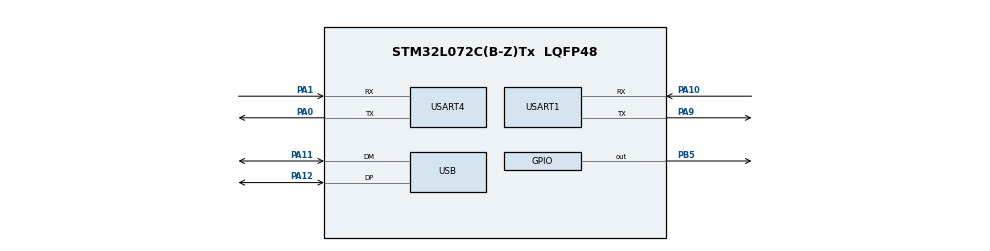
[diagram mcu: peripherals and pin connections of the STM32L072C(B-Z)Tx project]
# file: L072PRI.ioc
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FREERTOS.Tasks01=defaultTask,0,128,StartDefaultTask,Default,NULL,Dynamic,NULL,NULL
Mcu.Family=STM32L0
Mcu.Name=STM32L072C(B-Z)Tx
Mcu.Package=LQFP48
NVIC.TIM2_IRQn=true\:0\:0\:false\:false\:true\:false\:false\:true
NVIC.TimeBase=TIM2_IRQn
NVIC.TimeBaseIP=TIM2
NVIC.USB_IRQn=true\:3\:0\:false\:false\:true\:true\:false\:true
PA0.Mode=Asynchronous
PA0.Signal=USART4_TX
PA1.Mode=Asynchronous
PA1.Signal=USART4_RX
PA10.Mode=Asynchronous
PA10.Signal=USART1_RX
PA11.Mode=Device
PA11.Signal=USB_DM
PA12.Mode=Device
PA12.Signal=USB_DP
PA13.Mode=Serial_Wire
PA13.Signal=SYS_SWDIO
PA14.Mode=Serial_Wire
PA14.Signal=SYS_SWCLK
PA9.Mode=Asynchronous
PA9.Signal=USART1_TX
PB5.Signal=GPIO_Output
PC14-OSC32_IN.Mode=LSE-External-Oscillator
PC14-OSC32_IN.Signal=RCC_OSC32_IN
PC15-OSC32_OUT.Mode=LSE-External-Oscillator
PC15-OSC32_OUT.Signal=RCC_OSC32_OUT
PH0-OSC_IN.Mode=HSE-External-Oscillator
PH0-OSC_IN.Signal=RCC_OSC_IN
PH1-OSC_OUT.Mode=HSE-External-Oscillator
PH1-OSC_OUT.Signal=RCC_OSC_OUT
ProjectManager.HeapSize=0x200
ProjectManager.StackSize=0x400
ProjectManager.TargetToolchain=SW4STM32
RCC.AHBFreq_Value=32000000
RCC.APB1Freq_Value=32000000
RCC.APB1TimFreq_Value=32000000
RCC.APB2Freq_Value=32000000
RCC.APB2TimFreq_Value=32000000
RCC.HCLKFreq_Value=32000000
RCC.HSE_VALUE=16000000
RCC.HSI16_VALUE=16000000
RCC.HSI48_VALUE=48000000
RCC.HSI_VALUE=16000000
RCC.MSI_VALUE=2097000
RCC.PLLDIV=RCC_PLLDIV_3
RCC.PLLMUL=RCC_PLLMUL_6
RCC.PLLSourceVirtual=RCC_PLLSOURCE_HSE
RCC.RTCClockSelection=RCC_RTCCLKSOURCE_LSE
RCC.SYSCLKFreq_VALUE=32000000
RCC.SYSCLKSource=RCC_SYSCLKSOURCE_PLLCLK
RCC.VCOOutputFreq_Value=96000000
RTC.Alarm-Alarm\ A=RTC_ALARM_A
USART1.VirtualMode-Asynchronous=VM_ASYNC
USART4.VirtualMode-Asynchronous=VM_ASYNC
USB_DEVICE.CLASS_NAME_FS=CDC
USB_DEVICE.VirtualMode=Cdc
USB_DEVICE.VirtualModeFS=Cdc_FS
VP_FREERTOS_VS_CMSIS_V1.Mode=CMSIS_V1
VP_RTC_VS_RTC_Activate.Mode=RTC_Enabled
VP_RTC_VS_RTC_Alarm_A_Intern.Mode=Alarm A
VP_RTC_VS_RTC_Calendar.Mode=RTC_Calendar
VP_SYS_VS_tim2.Mode=TIM2
VP_USB_DEVICE_VS_USB_DEVICE_CDC_FS.Mode=CDC_FS
board=custom

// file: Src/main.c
/* USER CODE BEGIN Header */
/**
 ******************************************************************************
 * @file           : main.c
 * @brief          : Main program body
 ******************************************************************************
 * @attention
 *
 * <h2><center>&copy; Copyright (c) 2020 STMicroelectronics.
 * All rights reserved.</center></h2>
 *
 * This software component is licensed by ST under Ultimate Liberty license
 * SLA0044, the "License"; You may not use this file except in compliance with
 * the License. You may obtain a copy of the License at:
 *                             www.st.com/SLA0044
 *
 ******************************************************************************
 */
/* USER CODE END Header */

#include "main.h"
#include "cmsis_os.h"
#include "rtc.h"
#include "usart.h"
#include "usb_device.h"
#include "gpio.h"

/* USER CODE BEGIN Includes */
#include <stdio.h>
#include "usbd_desc.h"
#include "usbd_core.h"
#include "usbd_cdc_if.h"
/* USER CODE END Includes */

/* USER CODE BEGIN PD */
#define PUTCHAR_PROTOTYPE int __io_putchar(int ch)

PUTCHAR_PROTOTYPE
{
  /* Place your implementation of fputc here */
  /* e.g. write a character to the USART2 and Loop until the end of transmission */
  HAL_UART_Transmit (&huart4, (uint8_t *) &ch, 1, 0xFFFF);

  return ch;
}
/* USER CODE END PD */

void
SystemClock_Config (void);
void
MX_FREERTOS_Init (void);

/* USER CODE BEGIN 0 */
extern USBD_HandleTypeDef hUsbDeviceFS;
/* USER CODE END 0 */

int
main (void)
{

  /* MCU Configuration--------------------------------------------------------*/

  /* Reset of all peripherals, Initializes the Flash interface and the Systick. */
  HAL_Init ();

  /* Configure the system clock */
  SystemClock_Config ();

  /* Initialize all configured peripherals */
  MX_GPIO_Init ();
  MX_RTC_Init ();
  MX_USART1_UART_Init ();
  MX_USART4_UART_Init ();
  /* USER CODE BEGIN 2 */
  HAL_GPIO_WritePin (GPIOB, GPIO_PIN_5, GPIO_PIN_SET);

  printf ("\r\n-- Beginning ...  ---\r\n");
//  /* Init Device Library */
//  printf ("Start USB\r\n");
//  USBD_Init (&hUsbDeviceFS, &FS_Desc, 0);
//  /* Add Supported Class */
//  USBD_RegisterClass (&hUsbDeviceFS, USBD_CDC_CLASS);
//  /* Add CDC Interface Class */
//  USBD_CDC_RegisterInterface (&hUsbDeviceFS, &USBD_Interface_fops_FS);
//  /* Start Device Process */
//  USBD_Start(&hUsbDeviceFS);
  /* USER CODE END 2 */

  /* Call init function for freertos objects (in freertos.c) */
  MX_FREERTOS_Init ();
  /* Start scheduler */
  osKernelStart ();

  /* We should never get here as control is now taken by the scheduler */
  /* Infinite loop */
  while (1)
    {

    }
}

void
SystemClock_Config (void)
{
  RCC_OscInitTypeDef RCC_OscInitStruct =
    { 0 };
  RCC_ClkInitTypeDef RCC_ClkInitStruct =
    { 0 };
  RCC_PeriphCLKInitTypeDef PeriphClkInit =
    { 0 };

  /** Configure the main internal regulator output voltage
   */
  __HAL_PWR_VOLTAGESCALING_CONFIG(PWR_REGULATOR_VOLTAGE_SCALE1);
  /** Configure LSE Drive Capability
   */
  HAL_PWR_EnableBkUpAccess ();
  __HAL_RCC_LSEDRIVE_CONFIG(RCC_LSEDRIVE_LOW);
  /** Initializes the CPU, AHB and APB busses clocks
   */
  RCC_OscInitStruct.OscillatorType = RCC_OSCILLATORTYPE_HSE
      | RCC_OSCILLATORTYPE_LSE;
  RCC_OscInitStruct.HSEState = RCC_HSE_ON;
  RCC_OscInitStruct.LSEState = RCC_LSE_ON;
  RCC_OscInitStruct.PLL.PLLState = RCC_PLL_ON;
  RCC_OscInitStruct.PLL.PLLSource = RCC_PLLSOURCE_HSE;
  RCC_OscInitStruct.PLL.PLLMUL = RCC_PLLMUL_6;
  RCC_OscInitStruct.PLL.PLLDIV = RCC_PLLDIV_3;
  if (HAL_RCC_OscConfig (&RCC_OscInitStruct) != HAL_OK)
    {
      Error_Handler ();
    }
  /** Initializes the CPU, AHB and APB busses clocks
   */
  RCC_ClkInitStruct.ClockType = RCC_CLOCKTYPE_HCLK | RCC_CLOCKTYPE_SYSCLK
      | RCC_CLOCKTYPE_PCLK1 | RCC_CLOCKTYPE_PCLK2;
  RCC_ClkInitStruct.SYSCLKSource = RCC_SYSCLKSOURCE_PLLCLK;
  RCC_ClkInitStruct.AHBCLKDivider = RCC_SYSCLK_DIV1;
  RCC_ClkInitStruct.APB1CLKDivider = RCC_HCLK_DIV1;
  RCC_ClkInitStruct.APB2CLKDivider = RCC_HCLK_DIV1;

  if (HAL_RCC_ClockConfig (&RCC_ClkInitStruct, FLASH_LATENCY_1) != HAL_OK)
    {
      Error_Handler ();
    }
  PeriphClkInit.PeriphClockSelection = RCC_PERIPHCLK_USART1 | RCC_PERIPHCLK_RTC
      | RCC_PERIPHCLK_USB;
  PeriphClkInit.Usart1ClockSelection = RCC_USART1CLKSOURCE_PCLK2;
  PeriphClkInit.RTCClockSelection = RCC_RTCCLKSOURCE_LSE;
  PeriphClkInit.UsbClockSelection = RCC_USBCLKSOURCE_PLL;
  if (HAL_RCCEx_PeriphCLKConfig (&PeriphClkInit) != HAL_OK)
    {
      Error_Handler ();
    }
}

void
HAL_TIM_PeriodElapsedCallback (TIM_HandleTypeDef *htim)
{
  if (htim->Instance == TIM2)
    {
      HAL_IncTick ();
    }
}

void
Error_Handler (void)
{
}

/************************ (C) COPYRIGHT STMicroelectronics *****END OF FILE****/

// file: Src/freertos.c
/* USER CODE BEGIN Header */
/**
  ******************************************************************************
  * File Name          : freertos.c
  * Description        : Code for freertos applications
  ******************************************************************************
  * @attention
  *
  * <h2><center>&copy; Copyright (c) 2020 STMicroelectronics.
  * All rights reserved.</center></h2>
  *
  * This software component is licensed by ST under Ultimate Liberty license
  * SLA0044, the "License"; You may not use this file except in compliance with
  * the License. You may obtain a copy of the License at:
  *                             www.st.com/SLA0044
  *
  ******************************************************************************
  */
/* USER CODE END Header */

#include "FreeRTOS.h"
#include "task.h"
#include "main.h"
#include "cmsis_os.h"

/* USER CODE BEGIN Includes */
#include <stdio.h>
#include "usbd_cdc_if.h"
/* USER CODE END Includes */

osThreadId defaultTaskHandle;

void StartDefaultTask(void const * argument);

extern void MX_USB_DEVICE_Init(void);
void MX_FREERTOS_Init(void); /* (MISRA C 2004 rule 8.1) */

/* GetIdleTaskMemory prototype (linked to static allocation support) */
void vApplicationGetIdleTaskMemory( StaticTask_t **ppxIdleTaskTCBBuffer, StackType_t **ppxIdleTaskStackBuffer, uint32_t *pulIdleTaskStackSize );

/* USER CODE BEGIN GET_IDLE_TASK_MEMORY */
static StaticTask_t xIdleTaskTCBBuffer;
static StackType_t xIdleStack[configMINIMAL_STACK_SIZE];

void vApplicationGetIdleTaskMemory( StaticTask_t **ppxIdleTaskTCBBuffer, StackType_t **ppxIdleTaskStackBuffer, uint32_t *pulIdleTaskStackSize )
{
  *ppxIdleTaskTCBBuffer = &xIdleTaskTCBBuffer;
  *ppxIdleTaskStackBuffer = &xIdleStack[0];
  *pulIdleTaskStackSize = configMINIMAL_STACK_SIZE;
  /* place for user code */
}
/* USER CODE END GET_IDLE_TASK_MEMORY */

void MX_FREERTOS_Init(void) {

  /* Create the thread(s) */
  /* definition and creation of defaultTask */
  osThreadDef(defaultTask, StartDefaultTask, osPriorityNormal, 0, 128);
  defaultTaskHandle = osThreadCreate(osThread(defaultTask), NULL);

}

void StartDefaultTask(void const * argument)
{
  /* init code for USB_DEVICE */
  MX_USB_DEVICE_Init();
  /* USER CODE BEGIN StartDefaultTask */
  uint8_t result;
  uint8_t buf[2] = {'h','i'};
  /* Infinite loop */
  for(;;)
  {
    osDelay(1000);
    HAL_GPIO_TogglePin(GPIOB, GPIO_PIN_5);
    printf("Toggle\r\n");

    // send out to CDC
    printf("Send to USB\r\n");
    result = CDC_Transmit_FS(buf, 2);
    printf("Send USB :%d\r\n", result);
  }
	osThreadTerminate(NULL);
  /* USER CODE END StartDefaultTask */
}

/************************ (C) COPYRIGHT STMicroelectronics *****END OF FILE****/
